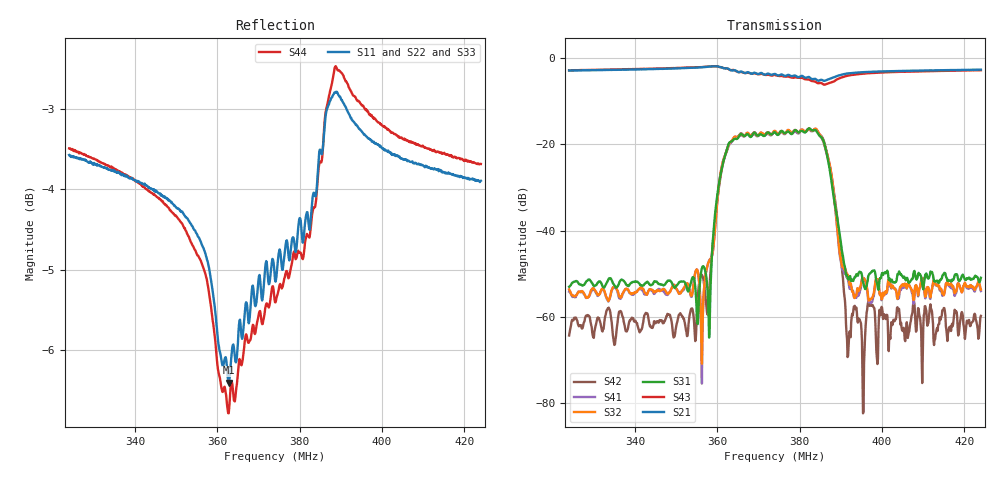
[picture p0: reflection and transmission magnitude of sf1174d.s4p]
# Hz S RI R 50
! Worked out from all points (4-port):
!   801 points, 324 MHz to 424 MHz, reference 50 ohm
!   strongest paths, dB at 324 MHz, 349 MHz, 374 MHz, 399 MHz, 424 MHz:
!     S21: -2.9, -2.4, -3.7, -3.1, -2.7
!     S43: -2.9, -2.3, -3.9, -3.4, -2.8
!     S31: -53.0, -52.2, -17.2, -53.4, -50.9
!     S32: -53.6, -53.1, -16.9, -51.3, -53.6
!     S41: -54.1, -53.2, -17.0, -51.5, -54.0
!     S42: -64.3, -61.8, -17.1, -69.7, -59.7
!   lowest |S11| = -6.4 dB at 362.8 MHz (marker M1), VSWR 2.83, Z = 51.3 - j55.2 ohm
!   |S11| at or under -10 dB: nowhere
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3.24e8  0.3311 -0.5741  0.6309 0.3456  0.0012 0.00191  -0.000508 0.002
        0.6299 0.3426  0.3345 -0.5727  -0.0005 0.00189  -0.000228 0.00057
        0.00118 0.0019  -0.000556 0.00201  0.33 -0.5822  0.6232 0.3592
        -0.000496 0.00191  -0.000213 0.000572  0.625 0.3574  0.338 -0.5773
3.5625e8  0.2335 -0.5338  0.7289 0.2859  0.00082 0.00361  4.89e-05 0.000163
          0.7273 0.2829  0.2334 -0.5351  -0.000345 0.000144  -0.000619 0.003
          0.000815 0.00357  -0.000157 0.000241  0.2229 -0.5226  0.7339 0.2829
          -0.000145 8.8e-05  -0.000622 0.003  0.7331 0.28  0.2266 -0.5201
3.58e8  0.2153 -0.5208  0.7491 0.2726  0.000254 -0.000483  0.000245 0.00469
        0.7465 0.2695  0.2142 -0.5217  0.000368 0.00421  -0.0011 -0.00154
        0.000261 -0.000516  0.00035 0.00444  0.2029 -0.505  0.7555 0.2659
        0.000271 0.0045  -0.00111 -0.00155  0.7563 0.2632  0.2052 -0.5034
3.6275e8  0.2384 -0.4148  0.7314 0.1568  0.0116 0.1009  -0.00401 -0.0978
          0.7299 0.1548  0.235 -0.4128  -0.00957 -0.0958  0.00147 0.0999
          0.0114 0.1007  -0.00524 -0.0983  0.2371 -0.3981  0.7273 0.1469
          -0.00805 -0.0955  0.00132 0.1003  0.7283 0.1455  0.2376 -0.3915
3.85375e8  0.4364 -0.4996  0.5173 0.2147  -0.0778 0.0909  0.0851 -0.085
           0.5151 0.2126  0.4394 -0.4953  0.0781 -0.0868  -0.0858 0.0876
           -0.0778 0.0898  0.0839 -0.085  0.4717 -0.4657  0.4748 0.18
           0.0794 -0.0855  -0.0859 0.0873  0.4755 0.1798  0.4786 -0.4509
3.955e8  0.3357 -0.5949  0.6134 0.3137  0.00168 0.00176  -0.000807 0.00278
         0.6114 0.3104  0.3383 -0.5943  -0.000742 0.00253  -8.22e-05 -7.95e-06
         0.00166 0.00178  -0.000755 0.0027  0.3679 -0.6079  0.5685 0.3317
         -0.000833 0.00265  -7.83e-05 1.9e-05  0.5702 0.3303  0.3776 -0.6018
4.24e8  0.2689 -0.5793  0.6813 0.2787  0.00144 0.00243  -0.000546 0.00201
        0.6787 0.2753  0.2672 -0.5805  -0.000584 0.00187  -0.000406 0.000953
        0.00145 0.00245  -0.000472 0.00202  0.2814 -0.5912  0.6557 0.3006
        -0.000654 0.00188  -0.000403 0.000949  0.6568 0.2983  0.2868 -0.588
